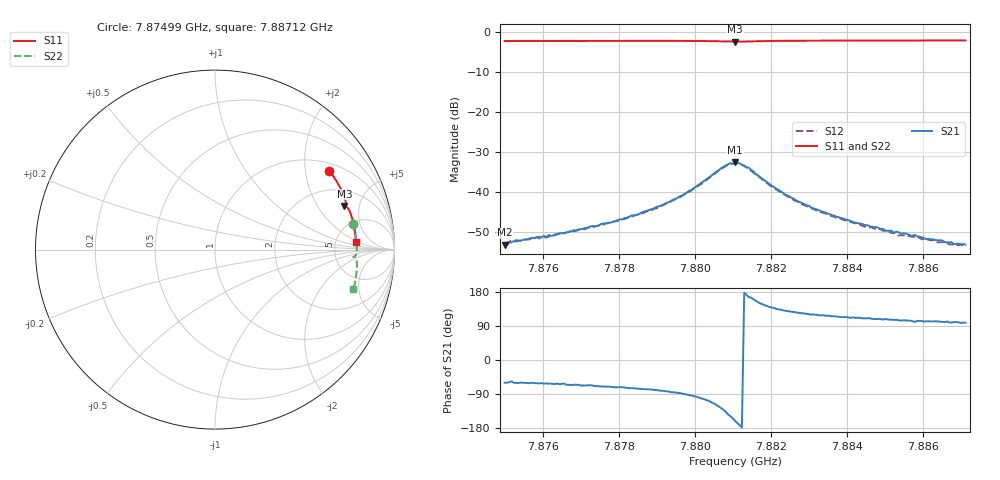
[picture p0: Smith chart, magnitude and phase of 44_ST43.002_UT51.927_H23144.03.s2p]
#  HZ  S  DB  R  50.00
! Rohde & Schwarz Vector Network Analyzer
! Rohde-Schwarz,ZNB20-2Port,1311601062101988,3.16
! Created: UTC 1/12/2023, 6:32:24 PM
! freq[Hz]  db:S11  ang:S11  db:S21  ang:S21  db:S12  ang:S12  db:S22  ang:S22
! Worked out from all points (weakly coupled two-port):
!   201 points, 7.87499 GHz to 7.88712 GHz, reference 50 ohm
!   highest |S21| = -32.57 dB at 7.88105 GHz (marker M1); lowest = -53.1 dB at 7.87499 GHz (marker M2)
!   lowest |S11| = -2.4 dB at 7.88105 GHz (marker M3), VSWR 7.36, Z = 154 + j177 ohm
!   |S11| at or under -10 dB: nowhere
!   |S22| runs from -2.2 to -1.9 dB; largest |S21 - S12| = 0.0017
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7.874986e9  -2.22 34.6  -53.13 -59.9  -52.72 -61.9  -2.14 10.6
7.875168e9  -2.22 34.1  -52.50 -56.3  -52.10 -60.7  -2.14 10.2
7.87529e9  -2.22 33.8  -51.99 -60.5  -52.30 -64.1  -2.13 9.9
7.875836e9  -2.21 32.3  -51.21 -61.2  -51.20 -66.4  -2.12 8.6
7.875896e9  -2.21 32.1  -51.58 -61.9  -51.13 -65.2  -2.11 8.5
7.876078e9  -2.20 31.6  -51.11 -61.5  -51.33 -66.7  -2.11 8.0
7.876199e9  -2.20 31.3  -50.88 -62.2  -50.60 -65.9  -2.11 7.7
7.876321e9  -2.20 30.9  -50.55 -63.1  -50.79 -65.7  -2.10 7.4
7.877049e9  -2.19 29.0  -49.13 -67.3  -49.26 -70.5  -2.08 5.7
7.87808e9  -2.18 26.1  -46.82 -71.8  -46.79 -76.5  -2.06 3.3
7.87905e9  -2.17 23.4  -43.55 -80.3  -43.72 -83.7  -2.05 1.0
7.879899e9  -2.19 20.9  -39.48 -93.7  -39.58 -96.7  -2.06 -1.1
7.880809e9  -2.35 18.6  -33.29 -137.0  -33.46 -140.1  -2.21 -3.1
7.881052e9  -2.38 18.6  -32.57 -160.5  -32.80 -163.4  -2.25 -3.1
7.881416e9  -2.30 18.4  -33.85 165.9  -34.22 163.7  -2.17 -3.0
7.882144e9  -2.17 16.4  -39.20 134.7  -39.36 131.5  -2.03 -4.7
7.883114e9  -2.13 13.6  -44.03 120.3  -44.22 116.7  -1.98 -7.0
7.884509e9  -2.10 9.8  -48.23 110.0  -48.77 107.2  -1.95 -10.2
7.885116e9  -2.09 8.3  -49.60 106.2  -49.87 104.3  -1.93 -11.5
7.885358e9  -2.09 7.6  -49.99 104.8  -50.80 102.8  -1.94 -12.1
7.886086e9  -2.08 5.7  -51.74 102.2  -51.88 99.3  -1.92 -13.6
7.887117e9  -2.07 3.0  -53.10 98.5  -53.49 97.6  -1.92 -15.9
